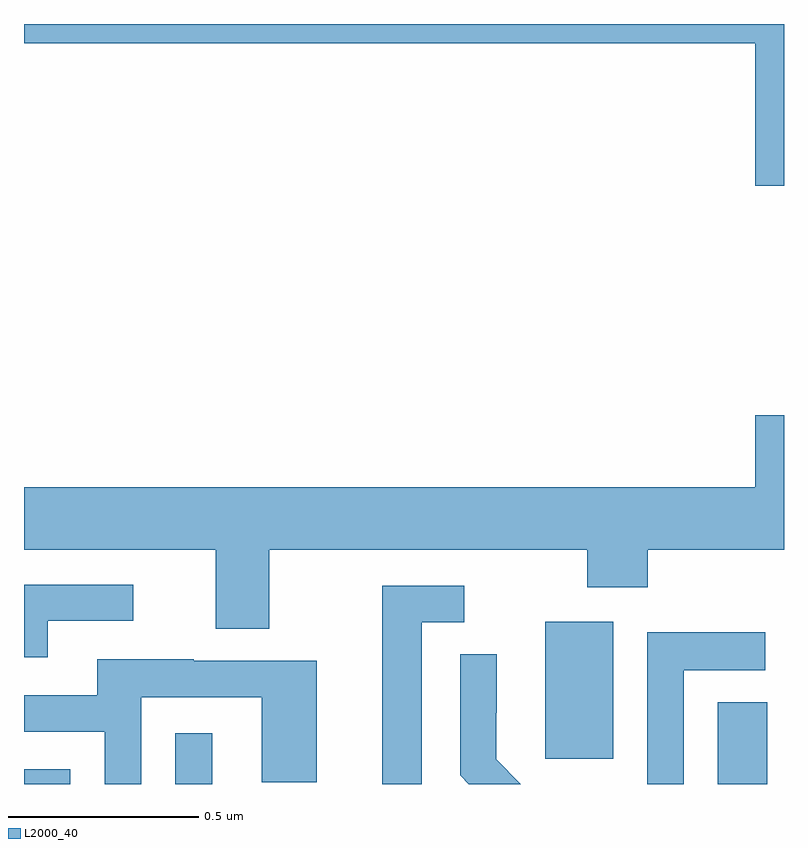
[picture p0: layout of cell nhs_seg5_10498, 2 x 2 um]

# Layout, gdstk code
import gdstk
lib = gdstk.Library(unit=1e-6, precision=1e-09)
def R(c, l, rs):  # rectangles x0, y0, x1, y1
    for r in rs: c.add(gdstk.rectangle(r[:2], r[2:], *l))
def P(c, l, *ps):  # polygons
    for p in ps: c.add(gdstk.Polygon(p, *l))
L2000_40 = (2000, 40)

nhs_seg5_10498 = lib.new_cell('nhs_seg5_10498')
R(nhs_seg5_10498, L2000_40, [(247,866.799,247.122,866.838), (247.398,866.799,247.495,866.932), (248.825,866.799,248.956,867.014), (248.372,866.865,248.551,867.226)])
P(nhs_seg5_10498, L2000_40, [(249,868.799),(247,868.799),(247,868.748),(248.924,868.748),(248.924,868.374),(249,868.374)],
  [(247.645,867.416),(248.482,867.416),(248.482,867.317),(248.642,867.317),(248.642,867.416),(249,867.416),(249,867.769),(248.924,867.769),(248.924,867.58),(247,867.58),(247,867.416),(247.505,867.416),(247.505,867.208),(247.645,867.208)],
  [(247.063,867.228),(247.288,867.228),(247.288,867.324),(247,867.324),(247,867.132),(247.063,867.132)],
  [(248.047,867.225),(248.158,867.225),(248.158,867.321),(247.943,867.321),(247.943,866.799),(248.047,866.799)],
  [(248.736,867.099),(248.95,867.099),(248.95,867.198),(248.64,867.198),(248.64,866.799),(248.736,866.799)],
  [(248.243,866.864),(248.243,866.986),(248.244,866.986),(248.244,867.14),(248.148,867.14),(248.148,866.822),(248.171,866.799),(248.307,866.799)],
  [(247.308,867.027),(247.626,867.027),(247.626,866.803),(247.771,866.803),(247.771,867.123),(247.447,867.123),(247.447,867.127),(247.193,867.127),(247.193,867.033),(247,867.033),(247,866.937),(247.212,866.937),(247.212,866.799),(247.308,866.799)])

lib.write_gds('nhs_seg5_10498.gds')
